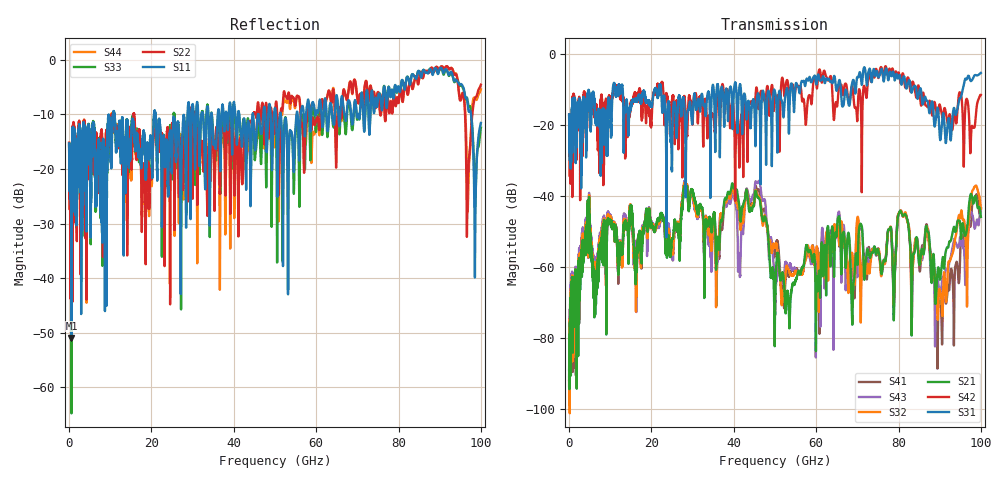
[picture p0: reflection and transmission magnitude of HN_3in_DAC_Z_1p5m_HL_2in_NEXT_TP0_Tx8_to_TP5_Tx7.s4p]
# GHz S RI R 45
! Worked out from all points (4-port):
!   4000 points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, 25 MHz to 100 GHz, reference 45 ohm
!   strongest paths, dB at 25 MHz, 25.02 GHz, 50.02 GHz, 75.03 GHz, 100 GHz:
!     S31: -17.1, -29.0, -10.7, -6.3, -5.3
!     S42: -17.1, -12.8, -11.9, -6.5, -11.5
!     S21: -89.1, -52.0, -73.4, -55.1, -45.9
!     S32: -93.6, -54.5, -54.4, -55.2, -43.6
!     S43: -91.1, -55.6, -73.7, -55.0, -43.6
!     S41: -91.9, -53.3, -55.5, -54.9, -43.4
!   lowest |S11| = -51.0 dB at 600 MHz (marker M1), VSWR 1.01, Z = 45.1 + j0.214 ohm
!   |S11| at or under -10 dB: start of sweep to 10.67 GHz; 11.03 GHz to 20.65 GHz (9.625 GHz wide, 60.8 % of centre); 20.98 GHz to 28.77 GHz (7.797 GHz wide, 31.3 % of centre) (the widest 3 of 40)
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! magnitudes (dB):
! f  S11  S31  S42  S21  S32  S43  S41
! 25 MHz  -15.3  -17.1  -17.1  -89.1  -93.6  -91.1  -91.9
! 600 MHz  -51.0  -26.5  -24.9  -67.3  -66.9  -65.9  -66.4
! 28.3 GHz  -19.0  -31.8  -16.2  -37.6  -36.6  -36.0  -36.9
! 53.17 GHz  -42.9  -12.6  -8.4  -67.4  -60.4  -60.3  -62.0
! 80.45 GHz  -5.6  -6.9  -8.0  -44.2  -44.1  -44.1  -44.2
! 90.35 GHz  -1.5  -22.4  -16.1  -61.0  -68.3  -66.4  -71.9
! 100 GHz  -11.5  -5.3  -11.5  -45.9  -43.6  -43.6  -43.4
